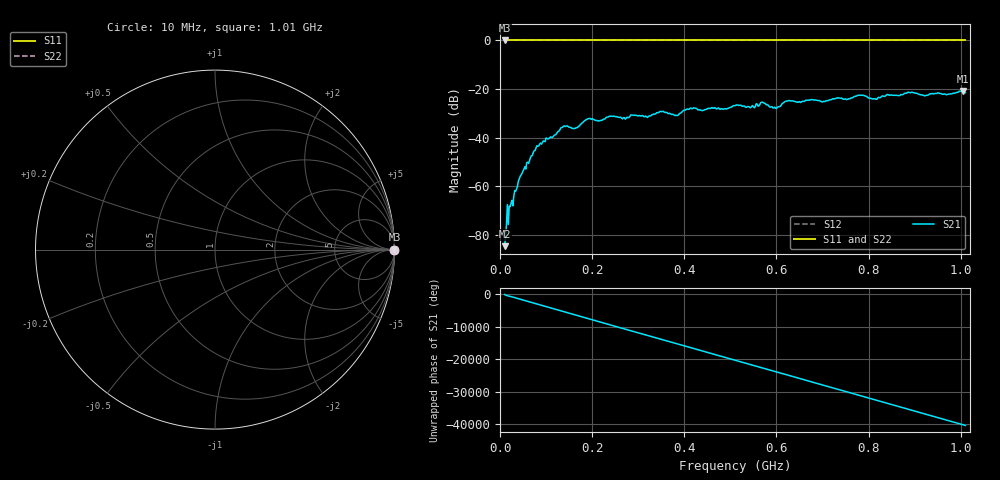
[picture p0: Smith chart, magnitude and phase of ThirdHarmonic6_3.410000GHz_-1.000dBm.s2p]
! 8/17/2025 10:54:59 AM
! C:\ANRITSUVNA\TEMP\TEMP.S2P
! CHANNEL.1
! TR.MEASUREMENT
! RAW.DATA
! RF.CORRECTION.OFF
! AVERAGING.OFF
! IF.BANDWIDTH: 5KHZ
! SWEEPTYPE:  FREQ.SWEEP(Linear)
! Reference Plane Port Info
! PORT:  PORT1  PORT2
! DISTANCE:  0  m  0  m
! TIME:  0  s  0  s
! PHASE.OFFSET:  0  deg.  0  deg.
! LOSS:  0  dB  0  dB
! REF.LOSS:  0  dB  0  dB
! REF.FREQ:  0  Hz  0  Hz
! Power Info
! POWER:  -20  dBm  -20  dBm
! EFF.POWER:  -20  dBm  -20  dBm
! SOURCE.ATTEN:  0  dB  0  dB
! TEST.ATTEN:  0  dB  0  dB
# GHZ S RI R 50.0
! FREQ.GHZ  S11RE  S11IM  S21RE  S21IM  S12RE  S12IM  S22RE  S22IM
!; PortSelection: Port_12
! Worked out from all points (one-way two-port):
!   501 points, 10 MHz to 1.01 GHz, reference 50 ohm
!   highest |S21| = -20.75 dB at 1.004 GHz (marker M1); lowest = -84.5 dB at 10 MHz (marker M2)
!   lowest |S11| = 0.0 dB at 10 MHz (marker M3)
!   |S11| at or under -10 dB: nowhere
!   |S22| runs from 0.0 to 0.0 dB; largest |S21 - S12| = 1.1
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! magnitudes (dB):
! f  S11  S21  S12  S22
! 10 MHz  0.0  -84.5  0.0  0.0
! 20 MHz  0.0  -68.1  0.0  0.0
! 44 MHz  0.0  -55.8  0.0  0.0
! 76 MHz  0.0  -45.3  0.0  0.0
! 136 MHz  0.0  -35.6  0.0  0.0
! 164 MHz  0.0  -36.0  0.0  0.0
! 178 MHz  0.0  -33.9  0.0  0.0
! 192 MHz  0.0  -32.1  0.0  0.0
! 318 MHz  0.0  -31.4  0.0  0.0
! 344 MHz  0.0  -29.7  0.0  0.0
! 382 MHz  0.0  -30.7  0.0  0.0
! 416 MHz  0.0  -28.0  0.0  0.0
! 510 MHz  0.0  -26.8  0.0  0.0
! 548 MHz  0.0  -26.7  0.0  0.0
! 570 MHz  0.0  -25.4  0.0  0.0
! 596 MHz  0.0  -27.4  0.0  0.0
! 624 MHz  0.0  -24.9  0.0  0.0
! 678 MHz  0.0  -24.4  0.0  0.0
! 814 MHz  0.0  -24.0  0.0  0.0
! 844 MHz  0.0  -22.5  0.0  0.0
! 1.004 GHz  0.0  -20.7  0.0  0.0
! 1.01 GHz  0.0  -21.4  0.0  0.0
